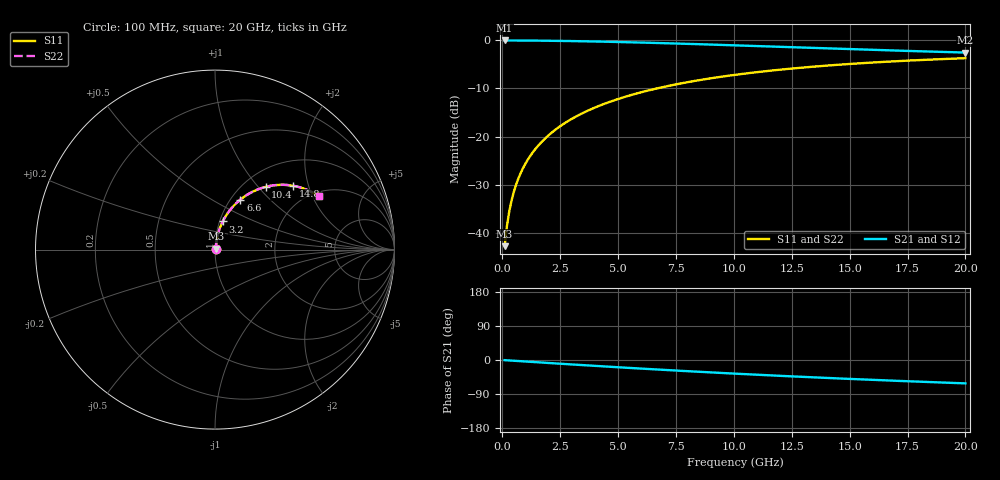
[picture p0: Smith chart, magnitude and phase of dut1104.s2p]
! Touchstone file exported from HFSS 2026.1.0
!  File:  C:/ffzhzh/LocalFiles/Ansys_Project_Files/temp_train_TMRDL_1104_1783161306_55132.aedt
!  Generated:  06:36:37 PM Jul  4, 2026
!  Design:  TMRDL
!  Project:  temp_train_TMRDL_1104_1783161306_55132
! Variables:
!  h_bsmrdl = 2um
!  h_ox = 20um
!  h_rdl = 5um
!  h_sub = 80um
!  h_tmrdl = 5.82um
!  h_tsv = 80um
!  h_via = 3um
!  l_bsmrdl = 300um
!  l_sub = 1295.49um
!  l_tmrdl = 895.49um
!  m_sub = 200um
!  pitch = 59.16um
!  r_tsv = 6um
!  s_tmrdl = 10um
!  w_bsmrdl = 18um
!  w_sub = 500um
!  w_tmrdl = 10.88um
!  x_tsv_center1 = 900.93um
!  x_tsv_center2 = 1218.93um
!  x_tsv_center3 = 2125.3um
!  x_tsv_center4 = 2443.3um
!  x_tsv_center5 = 3349.67um
!  x_tsv_center6 = 3667.67um
# GHz S MA R 50.000000
! Terminal data exported
! Port[1] = TM_RDL1_1_T1
! Port[2] = TM_RDL1_1_T2
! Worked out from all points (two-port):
!   200 points, 100 MHz to 20 GHz, reference 50 ohm
!   highest |S21| = -0.04 dB at 100 MHz (marker M1); lowest = -2.6 dB at 20 GHz (marker M2)
!   |S21| within 3 dB of the highest: start of sweep to end of sweep
!   lowest |S11| = -42.7 dB at 100 MHz (marker M3), VSWR 1.01, Z = 50.5 + j0.534 ohm
!   |S11| at or under -10 dB: start of sweep to 6.679 GHz
!   |S22| runs from -42.7 to -3.7 dB; largest |S21 - S12| = 1.8e-14
!   S11 on the Smith chart (normalised r, x): 100 MHz: 1.01, +0.01; 3.2 GHz: 1.04, +0.33; 6.6 GHz: 1.11, +0.69; 10.4 GHz: 1.25, +1.09; 14.8 GHz: 1.54, +1.60; 20 GHz: 2.18, +2.24
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0.1  0.007288 46.5  0.995 -0.4  0.995 -0.4  0.007288 46.5
! Gamma 0 0 0 0
! Port Impedance 50 0 50 0
0.2  0.01175 63.7  0.9949 -0.8  0.9949 -0.8  0.01175 63.7
0.3  0.01668 70.8  0.9947 -1.2  0.9947 -1.2  0.01668 70.8
0.4  0.02173 74.4  0.9945 -1.6  0.9945 -1.6  0.02173 74.4
0.5  0.02682 76.5  0.9943 -2.0  0.9943 -2.0  0.02682 76.5
0.7  0.03705 78.7  0.9938 -2.8  0.9938 -2.8  0.03705 78.7
1  0.05242 79.8  0.9929 -4.0  0.9929 -4.0  0.05242 79.8
1.4  0.07287 79.7  0.9913 -5.5  0.9913 -5.5  0.07287 79.7
1.9  0.09823 78.7  0.9887 -7.5  0.9887 -7.5  0.09823 78.7
2.5  0.1282 77.0  0.9846 -9.8  0.9846 -9.8  0.1282 77.0
3.2  0.1624 74.7  0.9788 -12.5  0.9788 -12.5  0.1624 74.7
3.5  0.1767 73.6  0.9759 -13.6  0.9759 -13.6  0.1767 73.7
4.9  0.2411 68.8  0.9605 -18.8  0.9605 -18.8  0.2411 68.8
6.6  0.3131 63.0  0.938 -24.8  0.938 -24.8  0.3131 63.1
6.8  0.3211 62.4  0.9352 -25.5  0.9352 -25.5  0.3211 62.4
8.3  0.378 57.5  0.9129 -30.5  0.9129 -30.5  0.378 57.6
10.1  0.4391 52.0  0.8848 -36.2  0.8848 -36.2  0.4391 52.1
10.4  0.4485 51.1  0.88 -37.1  0.88 -37.1  0.4485 51.2
13.4  0.5311 42.7  0.833 -45.7  0.833 -45.7  0.5311 42.8
14.8  0.563 39.1  0.812 -49.4  0.812 -49.4  0.563 39.2
16.7  0.6004 34.5  0.7854 -54.1  0.7854 -54.1  0.6004 34.6
20  0.6512 27.1  0.7449 -61.7  0.7449 -61.7  0.6512 27.2
